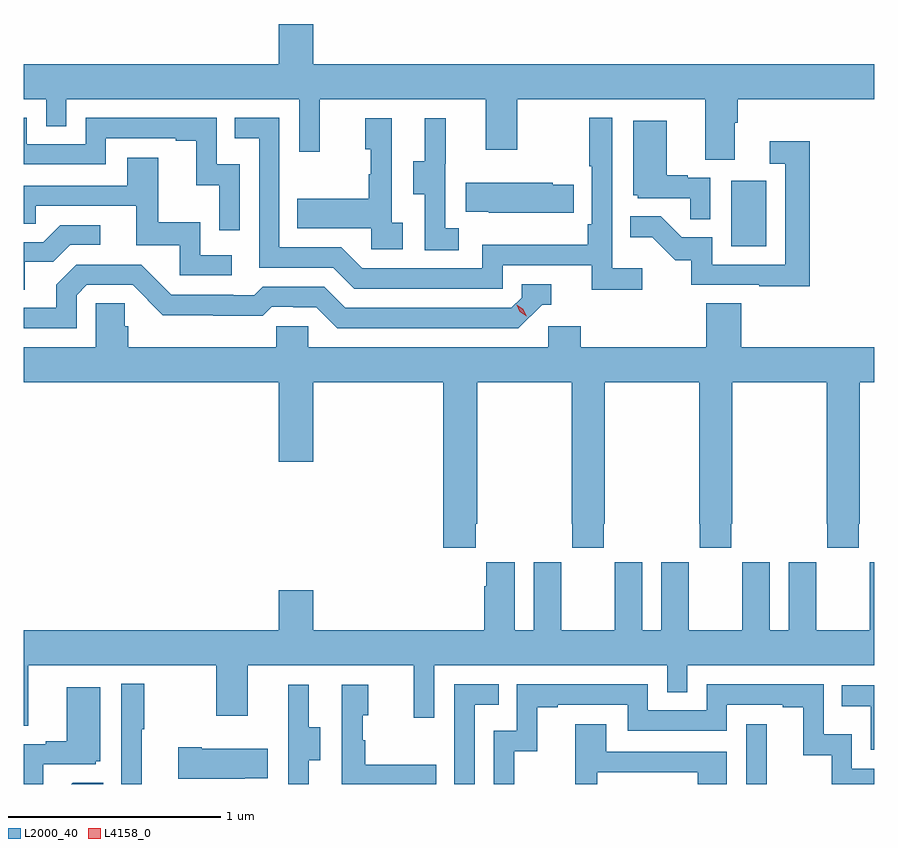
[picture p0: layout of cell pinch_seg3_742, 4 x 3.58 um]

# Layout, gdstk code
import gdstk
lib = gdstk.Library(unit=1e-6, precision=1e-09)
def R(c, l, rs):  # rectangles x0, y0, x1, y1
    for r in rs: c.add(gdstk.rectangle(r[:2], r[2:], *l))
def P(c, l, *ps):  # polygons
    for p in ps: c.add(gdstk.Polygon(p, *l))
L2000_40 = (2000, 40)
L4158_0 = (4158, 0)

pinch_seg3_742 = lib.new_cell('pinch_seg3_742')
R(pinch_seg3_742, L2000_40, [(850.524,744.313,850.621,744.595), (850.454,746.844,850.618,747.151)])
P(pinch_seg3_742, L2000_40, [(847.126,747.536),(847.23,747.536),(847.23,747.409),(847.326,747.409),(847.326,747.536),(848.421,747.536),(848.421,747.288),(848.519,747.288),(848.519,747.536),(849.299,747.536),(849.299,747.297),(849.447,747.297),(849.447,747.536),(850.331,747.536),(850.331,747.25),(850.471,747.25),(850.471,747.424),(850.484,747.424),(850.484,747.536),(851.126,747.536),(851.126,747.7),(848.488,747.7),(848.488,747.889),(848.324,747.889),(848.324,747.7),(847.126,747.7)],
  [(850.036,746.74),(849.894,746.74),(849.894,747.448),(849.786,747.448),(849.786,747.22),(849.798,747.22),(849.798,746.947),(849.778,746.947),(849.778,746.851),(849.282,746.851),(849.282,746.739),(848.718,746.739),(848.619,746.838),(848.328,746.838),(848.328,747.447),(848.119,747.447),(848.119,747.351),(848.232,747.351),(848.232,746.742),(848.582,746.742),(848.681,746.643),(849.378,746.643),(849.378,746.754),(849.797,746.754),(849.797,746.638),(850.036,746.638)],
  [(848.142,747.228),(848.034,747.228),(848.034,747.447),(847.416,747.447),(847.416,747.324),(847.14,747.324),(847.14,747.447),(847.126,747.447),(847.126,747.228),(847.512,747.228),(847.512,747.351),(847.841,747.351),(847.841,747.339),(847.937,747.339),(847.937,747.131),(848.046,747.131),(848.046,746.919),(848.142,746.919)],
  [(848.908,746.954),(848.856,746.954),(848.856,747.445),(848.732,747.445),(848.732,747.3),(848.758,747.3),(848.758,747.182),(848.748,747.182),(848.748,747.067),(848.413,747.067),(848.413,746.927),(848.76,746.927),(848.76,746.829),(848.908,746.829)],
  [(849.172,746.927),(849.108,746.927),(849.108,747.231),(849.11,747.231),(849.11,747.445),(849.011,747.445),(849.011,747.243),(848.957,747.243),(848.957,747.088),(849.012,747.088),(849.012,746.824),(849.172,746.824)],
  [(850.356,747.165),(850.25,747.165),(850.25,747.178),(850.15,747.178),(850.15,747.433),(849.992,747.433),(849.992,747.084),(850.014,747.084),(850.014,747.069),(850.261,747.069),(850.261,746.971),(850.356,746.971)],
  [(850.823,747.337),(850.635,747.337),(850.635,747.231),(850.707,747.231),(850.707,746.757),(850.365,746.757),(850.365,746.886),(850.221,746.886),(850.123,746.984),(849.979,746.984),(849.979,746.885),(850.083,746.885),(850.19,746.778),(850.267,746.778),(850.267,746.661),(850.585,746.661),(850.585,746.656),(850.823,746.656)],
  [(848.104,746.802),(847.956,746.802),(847.956,746.956),(847.757,746.956),(847.757,747.259),(847.613,747.259),(847.613,747.129),(847.126,747.129),(847.126,746.949),(847.181,746.949),(847.181,747.033),(847.655,747.033),(847.655,746.847),(847.86,746.847),(847.86,746.706),(848.104,746.706)],
  [(849.713,747.132),(849.615,747.132),(849.615,747.142),(849.205,747.142),(849.205,747.005),(849.313,747.005),(849.313,747.002),(849.713,747.002)],
  [(847.129,746.77),(847.264,746.77),(847.344,746.85),(847.486,746.85),(847.486,746.943),(847.298,746.943),(847.217,746.862),(847.126,746.862),(847.126,746.638),(847.129,746.638)],
  [(847.374,746.613),(847.422,746.661),(847.638,746.661),(847.78,746.519),(848.016,746.519),(848.016,746.517),(848.249,746.517),(848.291,746.559),(848.394,746.559),(848.394,746.556),(848.501,746.556),(848.6,746.457),(849.453,746.457),(849.564,746.568),(849.607,746.568),(849.607,746.664),(849.468,746.664),(849.468,746.601),(849.42,746.553),(848.637,746.553),(848.538,746.652),(848.249,746.652),(848.21,746.613),(848.111,746.613),(848.111,746.616),(847.818,746.616),(847.677,746.757),(847.371,746.757),(847.277,746.663),(847.277,746.553),(847.126,746.553),(847.126,746.457),(847.374,746.457)],
  [(850.337,746.368),(849.746,746.368),(849.746,746.466),(849.594,746.466),(849.594,746.368),(848.463,746.368),(848.463,746.466),(848.313,746.466),(848.313,746.368),(847.616,746.368),(847.616,746.466),(847.601,746.466),(847.601,746.576),(847.464,746.576),(847.464,746.368),(847.126,746.368),(847.126,746.204),(848.324,746.204),(848.324,745.83),(848.488,745.83),(848.488,746.204),(849.098,746.204),(849.098,745.425),(849.251,745.425),(849.251,745.537),(849.258,745.537),(849.258,746.204),(849.703,746.204),(849.703,745.537),(849.705,745.537),(849.705,745.425),(849.855,745.425),(849.855,745.537),(849.858,745.537),(849.858,746.204),(850.303,746.204),(850.303,745.537),(850.305,745.537),(850.305,745.425),(850.455,745.425),(850.455,745.537),(850.458,745.537),(850.458,746.204),(850.903,746.204),(850.903,745.537),(850.905,745.537),(850.905,745.425),(851.055,745.425),(851.055,745.537),(851.058,745.537),(851.058,746.204),(851.126,746.204),(851.126,746.368),(850.502,746.368),(850.502,746.576),(850.337,746.576)],
  [(847.147,744.872),(848.032,744.872),(848.032,744.633),(848.179,744.633),(848.179,744.872),(848.96,744.872),(848.96,744.624),(849.057,744.624),(849.057,744.872),(850.152,744.872),(850.152,744.745),(850.248,744.745),(850.248,744.872),(851.126,744.872),(851.126,745.357),(851.106,745.357),(851.106,745.244),(851.105,745.244),(851.105,745.036),(850.855,745.036),(850.855,745.244),(850.854,745.244),(850.854,745.357),(850.724,745.357),(850.724,745.036),(850.636,745.036),(850.636,745.357),(850.506,745.357),(850.506,745.244),(850.505,745.244),(850.505,745.036),(850.255,745.036),(850.255,745.244),(850.254,745.244),(850.254,745.357),(850.124,745.357),(850.124,745.036),(850.036,745.036),(850.036,745.357),(849.906,745.357),(849.906,745.244),(849.905,745.244),(849.905,745.036),(849.655,745.036),(849.655,745.244),(849.654,745.244),(849.654,745.357),(849.524,745.357),(849.524,745.036),(849.436,745.036),(849.436,745.357),(849.302,745.357),(849.302,745.244),(849.293,745.244),(849.293,745.036),(848.488,745.036),(848.488,745.225),(848.324,745.225),(848.324,745.036),(847.126,745.036),(847.126,744.586),(847.147,744.586)],
  [(847.681,744.571),(847.693,744.571),(847.693,744.784),(847.584,744.784),(847.584,744.313),(847.681,744.313)],
  [(849.246,744.687),(849.359,744.687),(849.359,744.783),(849.15,744.783),(849.15,744.313),(849.246,744.313)],
  [(849.432,744.467),(849.542,744.467),(849.542,744.675),(849.637,744.675),(849.637,744.687),(849.966,744.687),(849.966,744.564),(850.434,744.564),(850.434,744.687),(850.697,744.687),(850.697,744.675),(850.793,744.675),(850.793,744.449),(850.926,744.449),(850.926,744.313),(851.126,744.313),(851.126,744.384),(851.022,744.384),(851.022,744.547),(850.89,744.547),(850.89,744.783),(850.338,744.783),(850.338,744.66),(850.062,744.66),(850.062,744.783),(849.444,744.783),(849.444,744.564),(849.336,744.564),(849.336,744.313),(849.432,744.313)],
  [(848.466,744.424),(848.521,744.424),(848.521,744.579),(848.467,744.579),(848.467,744.781),(848.369,744.781),(848.369,744.567),(848.37,744.567),(848.37,744.313),(848.466,744.313)],
  [(849.065,744.403),(848.731,744.403),(848.731,744.518),(848.721,744.518),(848.721,744.636),(848.746,744.636),(848.746,744.781),(848.622,744.781),(848.622,744.313),(849.065,744.313)],
  [(851.126,744.777),(850.975,744.777),(850.975,744.68),(851.11,744.68),(851.11,744.474),(851.126,744.474)],
  [(847.217,744.405),(847.464,744.405),(847.464,744.42),(847.486,744.42),(847.486,744.769),(847.328,744.769),(847.328,744.514),(847.229,744.514),(847.229,744.501),(847.126,744.501),(847.126,744.313),(847.217,744.313)],
  [(849.823,744.369),(850.297,744.369),(850.297,744.313),(850.434,744.313),(850.434,744.465),(849.865,744.465),(849.865,744.595),(849.721,744.595),(849.721,744.313),(849.823,744.313)],
  [(848.165,744.341),(848.273,744.341),(848.273,744.478),(847.963,744.478),(847.963,744.486),(847.851,744.486),(847.851,744.338),(848.165,744.338)],
  [(847.499,744.32),(847.355,744.32),(847.348,744.313),(847.499,744.313)])
P(pinch_seg3_742, L4158_0, [(849.491,746.515),(849.46,746.534),(849.444,746.567),(849.444,746.567),(849.444,746.567),(849.475,746.548),(849.491,746.515),(849.491,746.515)])

lib.write_gds('pinch_seg3_742.gds')
